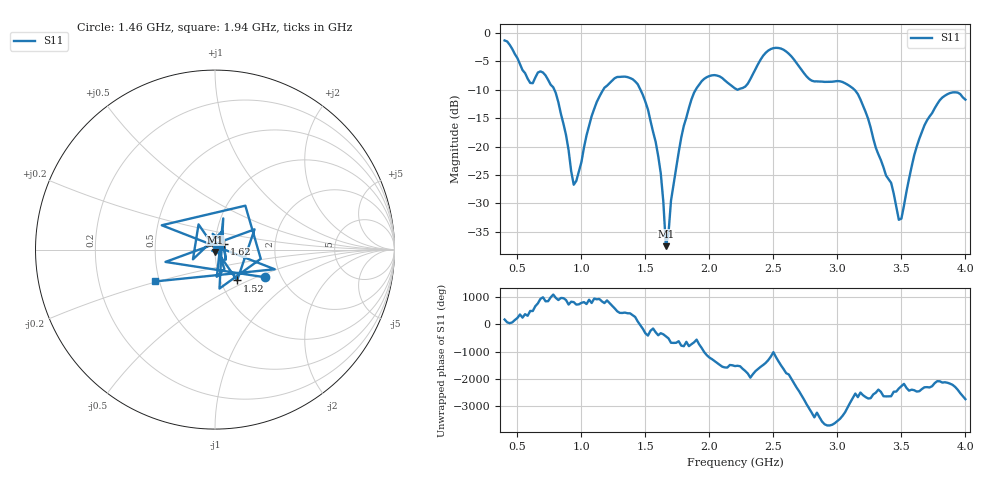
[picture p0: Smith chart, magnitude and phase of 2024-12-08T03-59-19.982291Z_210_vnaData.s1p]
!Created with skrf (http://scikit-rf.org).
# Hz S RI R 50.0
!freq ReS11 ImS11
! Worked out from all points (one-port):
!   181 points, 400 MHz to 4 GHz, reference 50 ohm
!   lowest |S11| = -37.6 dB at 1.66 GHz (marker M1), VSWR 1.03, Z = 50.2 - j1.31 ohm
!   |S11| at or under -10 dB: 788.5 MHz to 1.171 GHz (382 MHz wide, 39 % of centre); 1.461 GHz to 1.893 GHz (432 MHz wide, 25.8 % of centre); 3.133 GHz to end of sweep (the widest 3 of 4)
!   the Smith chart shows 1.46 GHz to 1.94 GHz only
!   S11 on the Smith chart (normalised r, x): 1.46 GHz: 1.65, -0.57; 1.52 GHz: 1.20, -0.43; 1.62 GHz: 1.10, +0.07; 1.94 GHz: 0.48, -0.20
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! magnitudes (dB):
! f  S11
! 400 MHz  -1.3
! 600 MHz  -8.8
! 720 MHz  -7.5
! 800 MHz  -10.6
! 860 MHz  -16.0
! 940 MHz  -26.7
! 1.12 GHz  -12.2
! 1.3 GHz  -7.7
! 1.46 GHz  -9.9
! 1.52 GHz  -13.5
! 1.62 GHz  -24.7
! 1.66 GHz  -37.6
! 1.76 GHz  -21.0
! 1.86 GHz  -11.7
! 1.94 GHz  -8.5
! 2.2 GHz  -9.8
! 2.28 GHz  -9.5
! 2.48 GHz  -2.8
! 2.66 GHz  -4.7
! 2.8 GHz  -8.4
! 3.1 GHz  -9.4
! 3.24 GHz  -15.1
! 3.42 GHz  -26.4
! 3.48 GHz  -32.9
! 3.56 GHz  -25.7
! 3.68 GHz  -16.3
! 3.8 GHz  -11.8
! 4 GHz  -11.7
